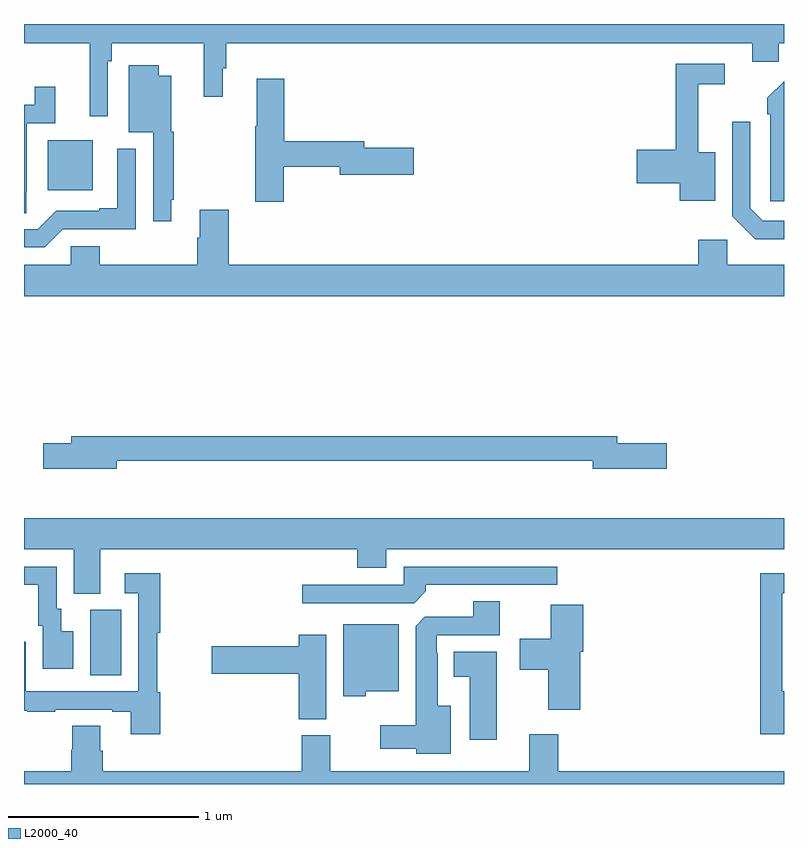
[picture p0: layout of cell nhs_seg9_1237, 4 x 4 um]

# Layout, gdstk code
import gdstk
lib = gdstk.Library(unit=1e-6, precision=1e-09)
def R(c, l, rs):  # rectangles x0, y0, x1, y1
    for r in rs: c.add(gdstk.rectangle(r[:2], r[2:], *l))
def P(c, l, *ps):  # polygons
    for p in ps: c.add(gdstk.Polygon(p, *l))
L2000_40 = (2000, 40)

nhs_seg9_1237 = lib.new_cell('nhs_seg9_1237')
R(nhs_seg9_1237, L2000_40, [(179.348,1213.072,179.512,1213.416), (179.126,1215.626,179.362,1215.889)])
P(nhs_seg9_1237, L2000_40, [(179.442,1216.304),(179.462,1216.304),(179.462,1216.4),(179.947,1216.4),(179.947,1216.116),(180.046,1216.116),(180.046,1216.266),(180.065,1216.266),(180.065,1216.4),(182.834,1216.4),(182.834,1216.302),(182.973,1216.302),(182.973,1216.4),(183,1216.4),(183,1216.5),(179,1216.5),(179,1216.4),(179.345,1216.4),(179.345,1216.014),(179.442,1216.014)],
  [(182.638,1215.826),(182.549,1215.826),(182.549,1216.182),(182.689,1216.182),(182.689,1216.29),(182.431,1216.29),(182.431,1215.839),(182.226,1215.839),(182.226,1215.661),(182.45,1215.661),(182.45,1215.569),(182.638,1215.569)],
  [(179.776,1215.574),(179.788,1215.574),(179.788,1215.933),(179.776,1215.933),(179.776,1216.228),(179.71,1216.228),(179.71,1216.282),(179.552,1216.282),(179.552,1215.929),(179.679,1215.929),(179.679,1215.462),(179.776,1215.462)],
  [(180.366,1215.748),(180.662,1215.748),(180.662,1215.706),(181.051,1215.706),(181.051,1215.848),(180.79,1215.848),(180.79,1215.884),(180.371,1215.884),(180.371,1216.213),(180.224,1216.213),(180.224,1215.961),(180.217,1215.961),(180.217,1215.564),(180.366,1215.564)],
  [(183,1216.2),(182.913,1216.113),(182.913,1216.025),(182.928,1216.025),(182.928,1215.567),(183,1215.567)],
  [(179.013,1215.616),(179.014,1215.616),(179.014,1215.978),(179.165,1215.978),(179.165,1216.171),(179.056,1216.171),(179.056,1216.074),(179,1216.074),(179,1215.505),(179.013,1215.505)],
  [(183,1215.465),(182.889,1215.465),(182.823,1215.531),(182.823,1215.985),(182.727,1215.985),(182.727,1215.489),(182.848,1215.368),(183,1215.368)],
  [(179.205,1215.42),(179.589,1215.42),(179.589,1215.844),(179.492,1215.844),(179.492,1215.529),(179.396,1215.529),(179.396,1215.516),(179.169,1215.516),(179.073,1215.42),(179,1215.42),(179,1215.324),(179.109,1215.324)],
  [(183,1215.232),(182.7,1215.232),(182.7,1215.364),(182.549,1215.364),(182.549,1215.232),(180.077,1215.232),(180.077,1215.523),(179.924,1215.523),(179.924,1215.374),(179.912,1215.374),(179.912,1215.232),(179.399,1215.232),(179.399,1215.33),(179.247,1215.33),(179.247,1215.232),(179,1215.232),(179,1215.068),(183,1215.068)],
  [(179.488,1214.202),(181.994,1214.202),(181.994,1214.159),(182.383,1214.159),(182.383,1214.294),(182.122,1214.294),(182.122,1214.33),(179.249,1214.33),(179.249,1214.294),(179.1,1214.294),(179.1,1214.159),(179.488,1214.159)],
  [(179.401,1213.736),(180.755,1213.736),(180.755,1213.637),(180.907,1213.637),(180.907,1213.736),(183,1213.736),(183,1213.9),(179,1213.9),(179,1213.736),(179.261,1213.736),(179.261,1213.501),(179.401,1213.501)],
  [(179.26,1213.303),(179.197,1213.303),(179.197,1213.422),(179.172,1213.422),(179.172,1213.644),(179,1213.644),(179,1213.548),(179.075,1213.548),(179.075,1213.332),(179.099,1213.332),(179.099,1213.107),(179.26,1213.107)],
  [(181.115,1213.514),(181.115,1213.548),(181.807,1213.548),(181.807,1213.644),(180.999,1213.644),(180.999,1213.548),(180.465,1213.548),(180.465,1213.452),(181.053,1213.452)],
  [(179.717,1212.984),(179.702,1212.984),(179.702,1213.296),(179.717,1213.296),(179.717,1213.609),(179.529,1213.609),(179.529,1213.503),(179.601,1213.503),(179.601,1212.987),(179.01,1212.987),(179.01,1213.249),(179,1213.249),(179,1212.885),(179.017,1212.885),(179.017,1212.879),(179.165,1212.879),(179.165,1212.891),(179.465,1212.891),(179.465,1212.879),(179.561,1212.879),(179.561,1212.762),(179.717,1212.762)],
  [(183,1212.987),(182.991,1212.987),(182.991,1213.503),(183,1213.503),(183,1213.609),(182.875,1213.609),(182.875,1212.762),(183,1212.762)],
  [(181.246,1212.913),(181.177,1212.913),(181.177,1213.187),(181.173,1213.187),(181.173,1213.284),(181.504,1213.284),(181.504,1213.463),(181.364,1213.463),(181.364,1213.38),(181.11,1213.38),(181.061,1213.331),(181.061,1212.808),(180.876,1212.808),(180.876,1212.686),(181.065,1212.686),(181.065,1212.659),(181.246,1212.659)],
  [(181.928,1213.195),(181.943,1213.195),(181.943,1213.444),(181.772,1213.444),(181.772,1213.264),(181.608,1213.264),(181.608,1213.102),(181.76,1213.102),(181.76,1212.891),(181.928,1212.891)],
  [(180.798,1212.989),(180.973,1212.989),(180.973,1213.342),(180.68,1213.342),(180.68,1212.962),(180.798,1212.962)],
  [(180.592,1213.285),(180.446,1213.285),(180.446,1213.226),(179.988,1213.226),(179.988,1213.079),(180.446,1213.079),(180.446,1212.841),(180.592,1212.841)],
  [(181.489,1213.195),(181.262,1213.195),(181.262,1213.064),(181.346,1213.064),(181.346,1212.732),(181.489,1212.732)],
  [(183,1212.568),(181.811,1212.568),(181.811,1212.763),(181.658,1212.763),(181.658,1212.568),(180.613,1212.568),(180.613,1212.756),(180.461,1212.756),(180.461,1212.568),(179.414,1212.568),(179.414,1212.674),(179.401,1212.674),(179.401,1212.806),(179.254,1212.806),(179.254,1212.681),(179.249,1212.681),(179.249,1212.568),(179,1212.568),(179,1212.5),(183,1212.5)])

lib.write_gds('nhs_seg9_1237.gds')
